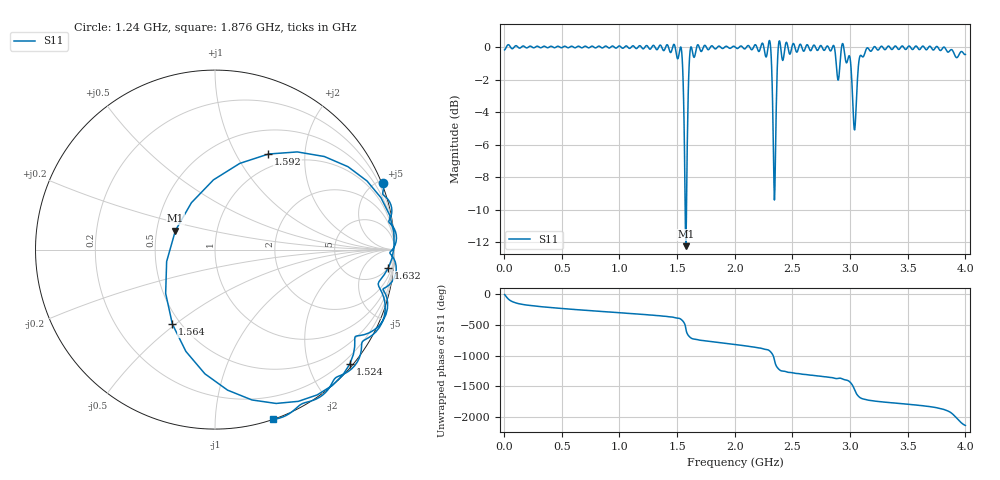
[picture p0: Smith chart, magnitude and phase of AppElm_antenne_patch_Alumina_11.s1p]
! TOUCHSTONE file generated by CST MICROWAVE STUDIO
! Date and time: Thu Jun  9 09:13:21 2022
! Project name: AppElm_antenne_patch_Alumina.cst
! Parameters = {L=30.5; W=41.8; e=0.035; h=1.6; lambda=0.190476; ls=90; w0=1.4; w1=0.373; ws=90; y0=14; y1=10}
! Header version: 2018
! Port assignment regex: !\s*Touchstone port\s*([0-9]+)\s*=\s*(CST MWS port|CST DS port)\s*([0-9]+|Zmin|Zmax)\s*\(\"(.*)\"\)(\s*mode\s*([0-9]+))?.*
! Touchstone port assignment:
! Touchstone port 1 = CST MWS port 1 ("")
# GHz S MA R 50
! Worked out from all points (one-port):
!   1000 points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, 4 MHz to 4 GHz, reference 50 ohm
!   lowest |S11| = -12.2 dB at 1.576 GHz (marker M1), VSWR 1.65, Z = 31.3 + j7.07 ohm
!   |S11| at or under -10 dB: 1.57 GHz to 1.581 GHz (10.96 MHz wide, 0.696 % of centre)
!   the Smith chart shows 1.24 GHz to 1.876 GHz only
!   S11 on the Smith chart (normalised r, x): 1.24 GHz: -0.12, +5.23; 1.524 GHz: 0.06, -2.72; 1.564 GHz: 0.45, -0.49; 1.592 GHz: 0.81, +1.37; 1.632 GHz: 5, -18; 1.876 GHz: 0.00, -1.40
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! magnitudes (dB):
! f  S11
! 4 MHz  -0.2
! 504 MHz  0.0
! 1.004 GHz  0.1
! 1.24 GHz  0.1
! 1.504 GHz  -0.7
! 1.524 GHz  -0.1
! 1.544 GHz  -0.7
! 1.564 GHz  -6.4
! 1.576 GHz  -12.2
! 1.592 GHz  -4.3
! 1.612 GHz  -0.3
! 1.632 GHz  -0.3
! 1.876 GHz  0.0
! 2.004 GHz  0.0
! 2.296 GHz  0.3
! 2.312 GHz  -0.1
! 2.344 GHz  -9.4
! 2.388 GHz  0.4
! 2.504 GHz  0.2
! 2.848 GHz  0.0
! 2.896 GHz  -2.0
! 2.94 GHz  0.2
! 3.004 GHz  -0.9
! 3.04 GHz  -5.1
! 3.084 GHz  -0.6
! 3.144 GHz  -0.1
! 3.504 GHz  0.0
! 4 GHz  -0.5
